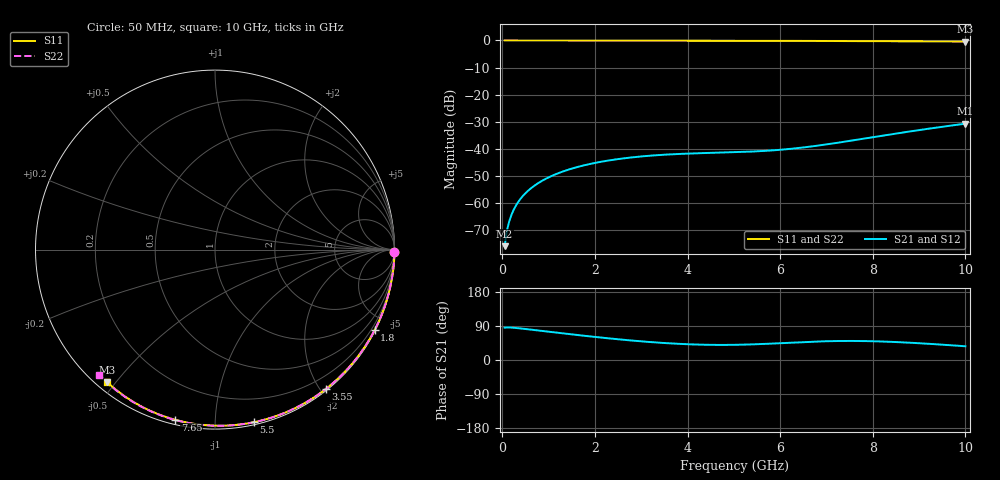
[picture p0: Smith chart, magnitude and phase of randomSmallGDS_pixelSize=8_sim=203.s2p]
! freq	dB(S11)	phase(S11)	dB(S12)	phase(S12)
!  dB(S21)	phase(S21)	dB(S22)	phase(S22)
!S-par simulation data
#  GHz  S  DB  R 50
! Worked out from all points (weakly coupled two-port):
!   200 points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, 50 MHz to 10 GHz, reference 50 ohm
!   highest |S21| = -30.69 dB at 10 GHz (marker M1); lowest = -75.9 dB at 50 MHz (marker M2)
!   lowest |S11| = -0.4 dB at 10 GHz (marker M3), VSWR 40.58, Z = 1.51 - j23.7 ohm
!   |S11| at or under -10 dB: nowhere
!   |S22| runs from -0.4 to 0.0 dB; largest |S21 - S12| = 0
!   S11 on the Smith chart (normalised r, x): 50 MHz: open; 1.8 GHz: 0.04, -4.20; 3.55 GHz: 0.02, -2.07; 5.5 GHz: 0.02, -1.25; 7.65 GHz: 0.02, -0.79; 10 GHz: 0.03, -0.47
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0.05  -0.00 -0.8  -75.87 85.3  -75.87 85.3  -0.00 -0.8
0.1  -0.00 -1.5  -70.13 85.8  -70.13 85.8  -0.00 -1.6
0.15  -0.00 -2.3  -66.68 85.8  -66.68 85.8  -0.00 -2.3
0.2  -0.00 -3.0  -64.22 85.5  -64.22 85.5  -0.00 -3.1
0.25  -0.00 -3.8  -62.30 85.0  -62.30 85.0  -0.00 -3.9
0.35  -0.00 -5.3  -59.40 83.9  -59.40 83.9  -0.00 -5.5
0.5  -0.01 -7.6  -56.34 81.8  -56.34 81.8  -0.01 -7.8
0.7  -0.01 -10.5  -53.47 79.0  -53.47 79.0  -0.01 -10.9
1  -0.02 -15.0  -50.50 74.7  -50.50 74.7  -0.02 -15.5
1.35  -0.03 -20.2  -48.08 69.7  -48.08 69.7  -0.03 -20.8
1.75  -0.03 -26.1  -46.11 64.2  -46.11 64.2  -0.03 -26.9
1.8  -0.03 -26.8  -45.91 63.5  -45.91 63.5  -0.04 -27.6
2.5  -0.05 -36.9  -43.74 54.7  -43.74 54.7  -0.05 -38.1
3.4  -0.07 -49.6  -42.24 45.6  -42.24 45.6  -0.07 -51.1
3.55  -0.07 -51.6  -42.09 44.4  -42.09 44.4  -0.07 -53.2
4.3  -0.09 -61.8  -41.56 40.4  -41.56 40.4  -0.09 -63.6
5.05  -0.11 -71.6  -41.19 40.1  -41.19 40.1  -0.11 -73.7
5.5  -0.12 -77.3  -40.88 41.6  -40.88 41.6  -0.13 -79.6
6.7  -0.18 -92.0  -39.04 48.4  -39.04 48.4  -0.18 -94.6
7.65  -0.23 -103.2  -36.64 50.2  -36.64 50.2  -0.24 -106.0
8.35  -0.28 -111.1  -34.74 48.1  -34.74 48.1  -0.29 -114.2
10  -0.43 -129.2  -30.69 36.3  -30.69 36.3  -0.44 -132.7
